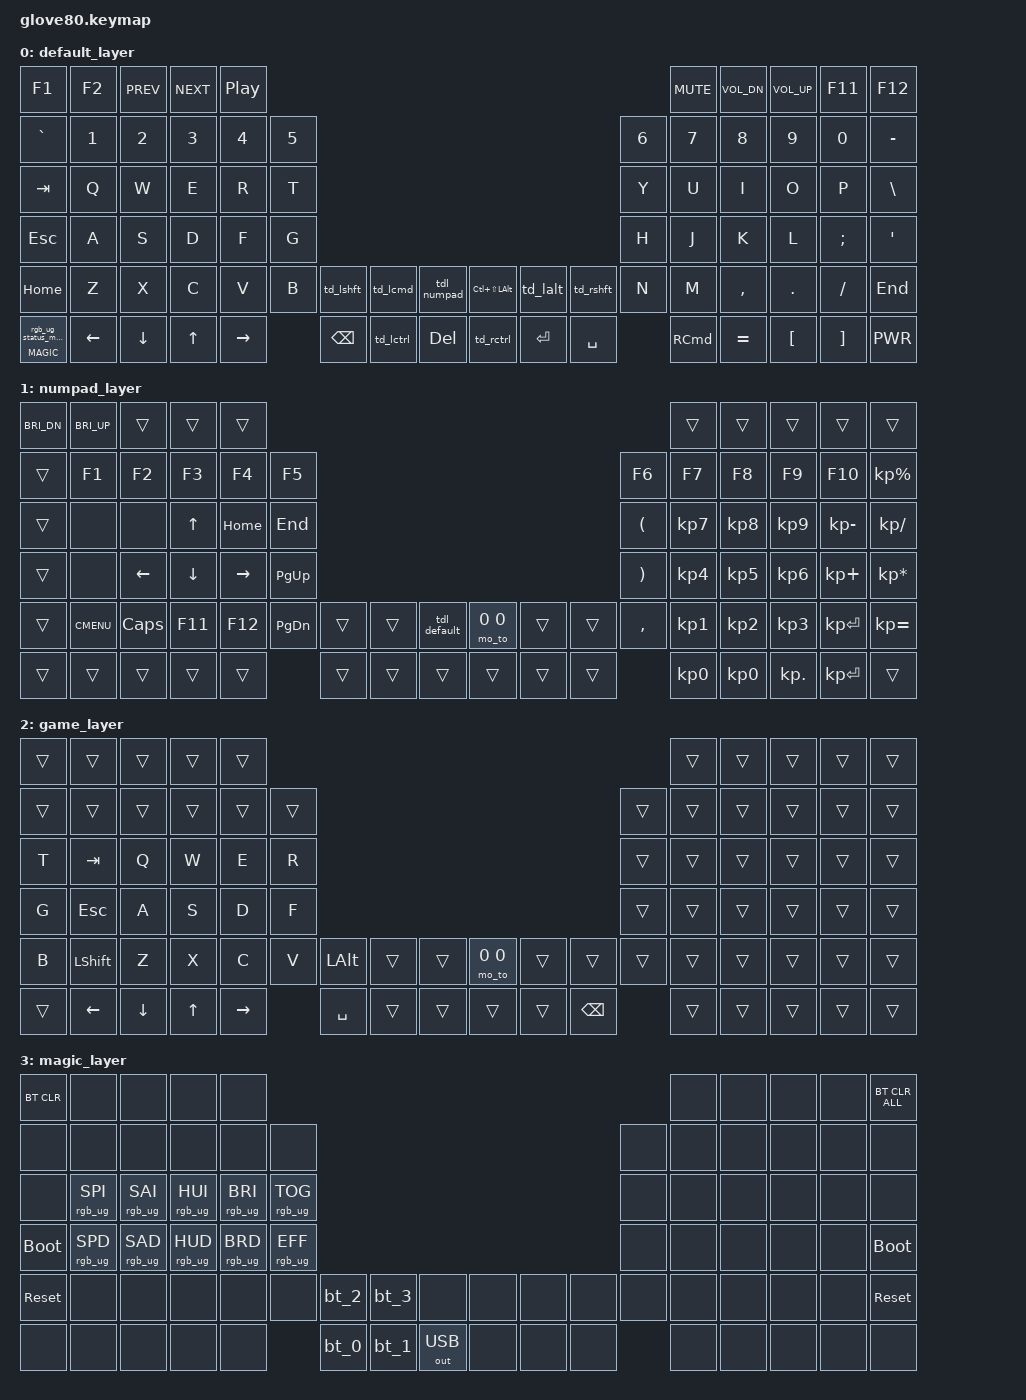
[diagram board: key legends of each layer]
/*
 * Copyright (c) 2020 The ZMK Contributors
 *
 * SPDX-License-Identifier: MIT
 */

#include <behaviors.dtsi>
#include <dt-bindings/zmk/keys.h>
#include <dt-bindings/zmk/bt.h>
#include <dt-bindings/zmk/ext_power.h>
#include <dt-bindings/zmk/outputs.h>
#include <dt-bindings/zmk/rgb.h>

#define HYPER LC(LS(LALT))

// layers
#define DEFAULT 0
#define NUMPAD 1
#define GAME 2
#define MAGIC 3

#define TD_HOLD(name,mk,sk)                 \
name: tap_dance_##name {                    \
    compatible = "zmk,behavior-tap-dance";  \
    label = #name;                          \
    #binding-cells = <0>;                   \
    tapping-term-ms = <300>;                \
    bindings = <&kp mk>, <&mt sk sk>;       \
}

#define TD_LALT(name,mk) TD_HOLD(name,mk,LA(mk))

#define TD_LAYER(name,l1,l2)                \
name: tap_dance_##name {                    \
    compatible = "zmk,behavior-tap-dance";  \
    label = #name;                          \
    #binding-cells = <0>;                   \
    tapping-term-ms = <300>;                \
    bindings = <&mo_to l1 l1>, <&to l2>;          \
}

/ {
    behaviors {
        magic: magic_hold_tap {
            compatible = "zmk,behavior-hold-tap";
            label = "MAGIC_HOLD_TAP";
            #binding-cells = <2>;
            flavor = "tap-preferred";
            tapping-term-ms = <200>;
            bindings = <&mo>, <&rgb_ug_status_macro>;
        };

        layer: layer_hold_tap {
            compatible = "zmk,behavior-hold-tap";
            #binding-cells = <2>;
            flavor = "hold-preferred";
            tapping-term-ms = <200>;
            bindings = <&mo>, <&to>;
        };

        TD_HOLD(td_lalt, LALT, LCMD);
        TD_HOLD(td_lcmd, LCMD, LALT);
        TD_LALT(td_lctrl, LCTRL);
        TD_LALT(td_lshft, LSHFT);
        TD_LALT(td_rctrl, RCTRL);
        TD_LALT(td_rshft, RSHFT);
        TD_LAYER(tdl_default, DEFAULT, GAME);
        TD_LAYER(tdl_numpad, NUMPAD, GAME);
    };

    macros {
        rgb_ug_status_macro: rgb_ug_status_macro_0 {
            label = "RGB_UG_STATUS";
            compatible = "zmk,behavior-macro";
            #binding-cells = <0>;
            bindings = <&rgb_ug RGB_STATUS>;
        };

        bt_0: bt_profile_macro_0 {
            label = "BT_0";
            compatible = "zmk,behavior-macro";
            #binding-cells = <0>;
            bindings
                = <&out OUT_BLE>,
                  <&bt BT_SEL 0>;
        };

        bt_1: bt_profile_macro_1 {
            label = "BT_1";
            compatible = "zmk,behavior-macro";
            #binding-cells = <0>;
            bindings
                = <&out OUT_BLE>,
                  <&bt BT_SEL 1>;
        };

        bt_2: bt_profile_macro_2 {
            label = "BT_2";
            compatible = "zmk,behavior-macro";
            #binding-cells = <0>;
            bindings
                = <&out OUT_BLE>,
                  <&bt BT_SEL 2>;
        };

        bt_3: bt_profile_macro_3 {
            label = "BT_3";
            compatible = "zmk,behavior-macro";
            #binding-cells = <0>;
            bindings
                = <&out OUT_BLE>,
                  <&bt BT_SEL 3>;
        };
    };

    keymap {
        compatible = "zmk,keymap";

        default_layer {
            // ---------------------------------------------------------------------------------------------------------------------------------------
            // |  F1   |  F2  | PREV | NEXT | PLAY  |                                                             | MUTE | VLDN | VLUP |  F11 |  F12 |
            // |   `   |  1   |  2   |   3  |   4   |  5  |                                                 |  6  |   7  |   8  |   9  |   0  |   -  |
            // |  TAB  |  Q   |  W   |   E  |   R   |  T  |                                                 |  Y  |   U  |   I  |   O  |   P  |   \  |
            // |  ESC  |  A   |  S   |   D  |   F   |  G  |                                                 |  H  |   J  |   K  |   L  |   ;  |   '  |
            // | HOME  |  Z   |  X   |   C  |   V   |  B  | LSHFT |  LCMD | LAYER | | HYPER |  LALT | RSHFT |  N  |   M  |   ,  |   .  |   /  |  END |
            // | MAGIC | LEFT | DOWN |  UP  | RIGHT |     |  BSPC | LCTRL |  DEL  | | RCTRL |  RET  | SPACE |     | RCMD |   =  |   [  |   ]  |  PWR |

            bindings = <
            &kp F1          &kp F2    &kp C_PREV  &kp C_NEXT  &kp C_PP                                                                                         &kp C_MUTE  &kp C_VOL_DN  &kp C_VOL_UP  &kp F11   &kp F12
            &kp GRAVE       &kp N1    &kp N2      &kp N3      &kp N4      &kp N5                                                                       &kp N6  &kp N7      &kp N8        &kp N9        &kp N0    &kp MINUS
            &kp TAB         &kp Q     &kp W       &kp E       &kp R       &kp T                                                                        &kp Y   &kp U       &kp I         &kp O         &kp P     &kp BSLH
            &kp ESC         &kp A     &kp S       &kp D       &kp F       &kp G                                                                        &kp H   &kp J       &kp K         &kp L         &kp SEMI  &kp SQT
            &kp HOME        &kp Z     &kp X       &kp C       &kp V       &kp B   &td_lshft  &td_lcmd   &tdl_numpad   &kp HYPER  &td_lalt  &td_rshft   &kp N   &kp M       &kp COMMA     &kp DOT       &kp FSLH  &kp END
            &magic MAGIC 0  &kp LEFT  &kp DOWN    &kp UP      &kp RIGHT           &kp BSPC   &td_lctrl  &kp DEL       &td_rctrl  &kp RET   &kp SPACE           &kp RCMD    &kp EQUAL     &kp LBKT      &kp RBKT  &kp C_PWR
            >;
        };

        numpad_layer {
            bindings = <
            &kp C_BRI_DN  &kp C_BRI_UP  &trans    &trans    &trans                                                                                       &trans     &trans     &trans      &trans        &trans
            &trans        &kp F1        &kp F2    &kp F3    &kp F4     &kp F5                                                                 &kp F6     &kp F7     &kp F8     &kp F9      &kp F10       &kp KP_PERCENT
            &trans        &none         &none     &kp UP    &kp HOME   &kp END                                                                &kp LPAR   &kp KP_N7  &kp KP_N8  &kp KP_N9   &kp KP_MINUS  &kp KP_DIVIDE
            &trans        &none         &kp LEFT  &kp DOWN  &kp RIGHT  &kp PG_UP                                                              &kp RPAR   &kp KP_N4  &kp KP_N5  &kp KP_N6   &kp KP_PLUS   &kp KP_MULTIPLY
            &trans        &kp K_CMENU   &kp CAPS  &kp F11   &kp F12    &kp PG_DN   &trans  &trans  &tdl_default   &mo_to 0 0  &trans  &trans  &kp COMMA  &kp KP_N1  &kp KP_N2  &kp KP_N3   &kp KP_ENTER  &kp KP_EQUAL
            &trans        &trans        &trans    &trans    &trans                 &trans  &trans  &trans         &trans      &trans  &trans             &kp KP_N0  &kp KP_N0  &kp KP_DOT  &kp KP_ENTER  &trans
            >;
        };

        game_layer {
            bindings = <
            &trans  &trans     &trans    &trans  &trans                                                                                &trans  &trans  &trans  &trans  &trans
            &trans  &trans     &trans    &trans  &trans      &trans                                                            &trans  &trans  &trans  &trans  &trans  &trans
            &kp T   &kp TAB    &kp Q     &kp W   &kp E       &kp R                                                             &trans  &trans  &trans  &trans  &trans  &trans
            &kp G   &kp ESC    &kp A     &kp S   &kp D       &kp F                                                             &trans  &trans  &trans  &trans  &trans  &trans
            &kp B   &kp LSHFT  &kp Z     &kp X   &kp C       &kp V   &kp LALT   &trans  &trans   &mo_to 0 0  &trans  &trans    &trans  &trans  &trans  &trans  &trans  &trans
            &trans  &kp LEFT   &kp DOWN  &kp UP  &kp RIGHT           &kp SPACE  &trans  &trans   &trans      &trans  &kp BSPC          &trans  &trans  &trans  &trans  &trans
            >;
        };

        magic_layer {
            bindings = <
            &bt BT_CLR        &none               &none           &none           &none                                                                                                           &none      &none      &none      &none      &bt BT_CLR_ALL
            &none             &none               &none           &none           &none           &none                                                                                &none      &none      &none      &none      &none      &none
            &none             &rgb_ug RGB_SPI     &rgb_ug RGB_SAI &rgb_ug RGB_HUI &rgb_ug RGB_BRI &rgb_ug RGB_TOG                                                                      &none      &none      &none      &none      &none      &none
            &bootloader       &rgb_ug RGB_SPD     &rgb_ug RGB_SAD &rgb_ug RGB_HUD &rgb_ug RGB_BRD &rgb_ug RGB_EFF                                                                      &none      &none      &none      &none      &none      &bootloader
            &sys_reset        &none               &none           &none           &none           &none           &bt_2     &bt_3     &none            &none     &none     &none       &none      &none      &none      &none      &none      &sys_reset
            &none             &none               &none           &none           &none                           &bt_0     &bt_1     &out OUT_USB     &none     &none     &none                  &none      &none      &none      &none      &none
            >;
        };
    };
};
